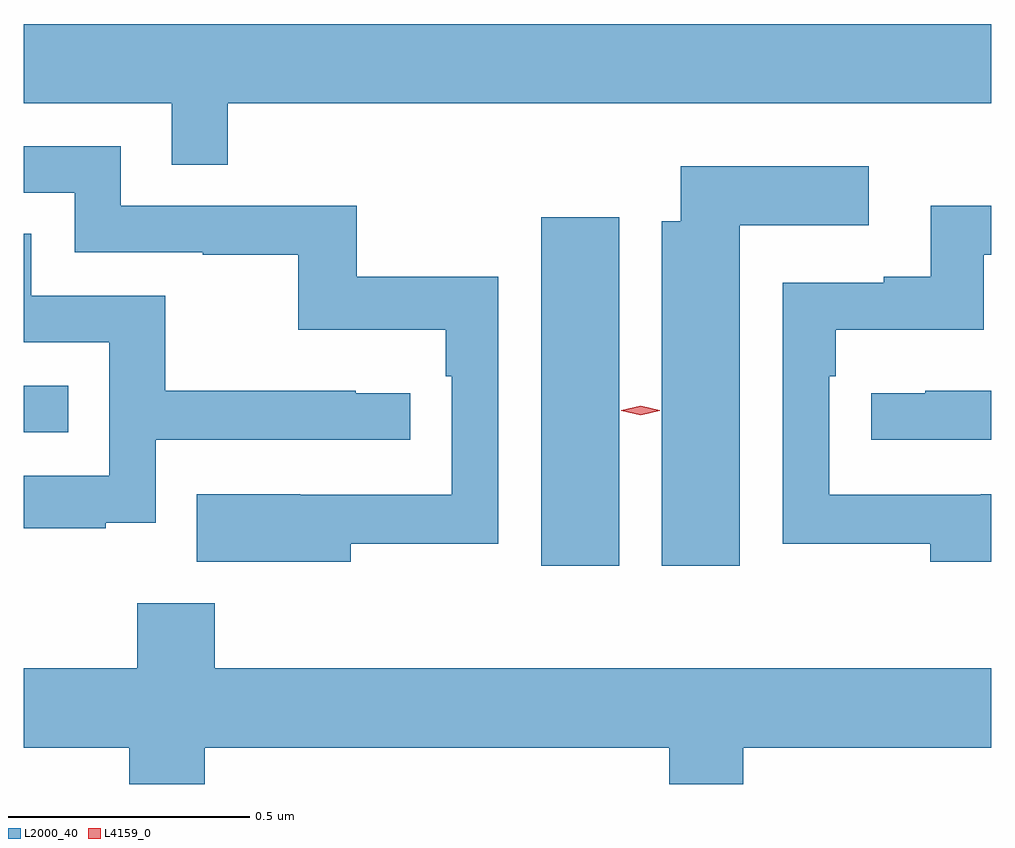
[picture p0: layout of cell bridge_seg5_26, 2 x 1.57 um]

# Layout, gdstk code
import gdstk
lib = gdstk.Library(unit=1e-6, precision=1e-09)
def R(c, l, rs):  # rectangles x0, y0, x1, y1
    for r in rs: c.add(gdstk.rectangle(r[:2], r[2:], *l))
def P(c, l, *ps):  # polygons
    for p in ps: c.add(gdstk.Polygon(p, *l))
L2000_40 = (2000, 40)
L4159_0 = (4159, 0)

bridge_seg5_26 = lib.new_cell('bridge_seg5_26')
R(bridge_seg5_26, L2000_40, [(1125.923,886.44,1126.084,887.161), (1124.853,886.716,1124.945,886.812)])
P(bridge_seg5_26, L2000_40, [(1125.275,887.396),(1126.853,887.396),(1126.853,887.56),(1124.853,887.56),(1124.853,887.396),(1125.159,887.396),(1125.159,887.269),(1125.275,887.269)],
  [(1125.529,886.486),(1125.834,886.486),(1125.834,887.038),(1125.541,887.038),(1125.541,887.184),(1125.054,887.184),(1125.054,887.307),(1124.853,887.307),(1124.853,887.211),(1124.958,887.211),(1124.958,887.088),(1125.223,887.088),(1125.223,887.083),(1125.42,887.083),(1125.42,886.928),(1125.725,886.928),(1125.725,886.832),(1125.738,886.832),(1125.738,886.587),(1125.425,886.587),(1125.425,886.588),(1125.211,886.588),(1125.211,886.448),(1125.529,886.448)],
  [(1126.333,887.144),(1126.6,887.144),(1126.6,887.266),(1126.211,887.266),(1126.211,887.152),(1126.172,887.152),(1126.172,886.44),(1126.333,886.44)],
  [(1126.853,886.588),(1126.831,886.588),(1126.831,886.587),(1126.518,886.587),(1126.518,886.832),(1126.532,886.832),(1126.532,886.928),(1126.837,886.928),(1126.837,887.083),(1126.853,887.083),(1126.853,887.184),(1126.728,887.184),(1126.728,887.038),(1126.631,887.038),(1126.631,887.025),(1126.422,887.025),(1126.422,886.486),(1126.727,886.486),(1126.727,886.448),(1126.853,886.448)],
  [(1125.023,886.529),(1125.126,886.529),(1125.126,886.701),(1125.652,886.701),(1125.652,886.797),(1125.539,886.797),(1125.539,886.802),(1125.146,886.802),(1125.146,886.998),(1124.869,886.998),(1124.869,887.126),(1124.853,887.126),(1124.853,886.902),(1125.03,886.902),(1125.03,886.626),(1124.853,886.626),(1124.853,886.518),(1125.023,886.518)],
  [(1126.853,886.802),(1126.717,886.802),(1126.717,886.797),(1126.605,886.797),(1126.605,886.701),(1126.853,886.701)],
  [(1125.227,886.064),(1126.187,886.064),(1126.187,885.989),(1126.34,885.989),(1126.34,886.064),(1126.853,886.064),(1126.853,886.228),(1125.248,886.228),(1125.248,886.363),(1125.088,886.363),(1125.088,886.228),(1124.853,886.228),(1124.853,886.064),(1125.071,886.064),(1125.071,885.989),(1125.227,885.989)])
P(bridge_seg5_26, L4159_0, [(1126.128,886.751),(1126.088,886.761),(1126.088,886.761),(1126.088,886.762),(1126.128,886.771),(1126.168,886.762),(1126.168,886.761),(1126.168,886.761)])

lib.write_gds('bridge_seg5_26.gds')
